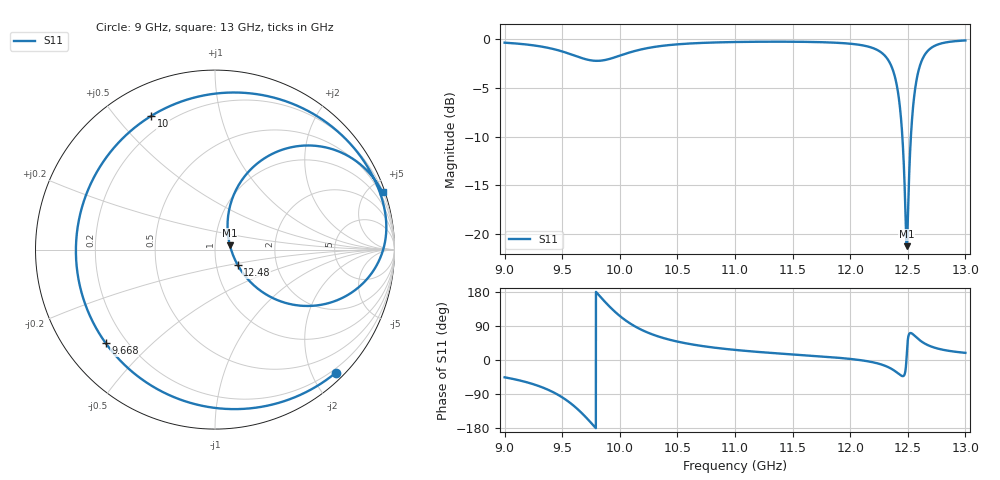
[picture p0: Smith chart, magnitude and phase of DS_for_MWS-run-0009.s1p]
! TOUCHSTONE file generated by CST DESIGN STUDIO
! Date and time: Tue Feb  4 18:29:48 2025
! Project name: C:\Work\MatlabApps\UnitCellOptimizationMatlab\CST\unitcell.cst
! Tree item: Tasks\Sweep1\SPara1\S-Parameters
! Header version: 2024
! Port assignment regex: !\s*Touchstone port\s*([0-9]+)\s*=\s*(CST MWS port|CST DES external port|CST DES block port)\s*(.+)\s* \(\"(.*)\"\)(\s*mode\s*([0-9]+))?.*
! Touchstone port assignment:
! Touchstone port 1 = CST DES external port 1 ("")
# GHz S MA R 50
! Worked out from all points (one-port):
!   4001 points, 9 GHz to 13 GHz, reference 50 ohm
!   lowest |S11| = -21.3 dB at 12.49 GHz (marker M1), VSWR 1.19, Z = 59 + j2.76 ohm
!   |S11| at or under -10 dB: 12.45 GHz to 12.53 GHz (74.24 MHz wide, 0.594 % of centre)
!   S11 on the Smith chart (normalised r, x): 9 GHz: 0.13, -2.37; 9.668 GHz: 0.12, -0.36; 10 GHz: 0.13, +0.62; 12.48 GHz: 1.27, -0.22; 13 GHz: 0.25, +6.02
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9  0.9609 -45.6
9.273  0.9269 -66.2
9.5  0.8661 -98.5
9.587  0.8327 -117.5
9.668  0.8015 -139.5
9.749  0.7794 -165.3
9.822  0.7755 169.9
9.916  0.7943 139.4
10  0.8241 116.2
10.003  0.8253 115.5
10.108  0.8635 92.9
10.241  0.9012 72.5
10.5  0.9422 48.6
11  0.9685 26.6
11.5  0.9717 14.7
12  0.9492 2.9
12.24  0.8782 -9.1
12.368  0.7019 -25.1
12.434  0.4345 -39.5
12.455  0.3008 -42.6
12.476  0.1519 -34.0
12.491  0.08634 15.6
12.5  0.1175 52.6
12.546  0.4503 67.6
12.611  0.7488 50.5
12.673  0.8713 39.4
12.748  0.9341 31.2
13  0.9865 18.8
